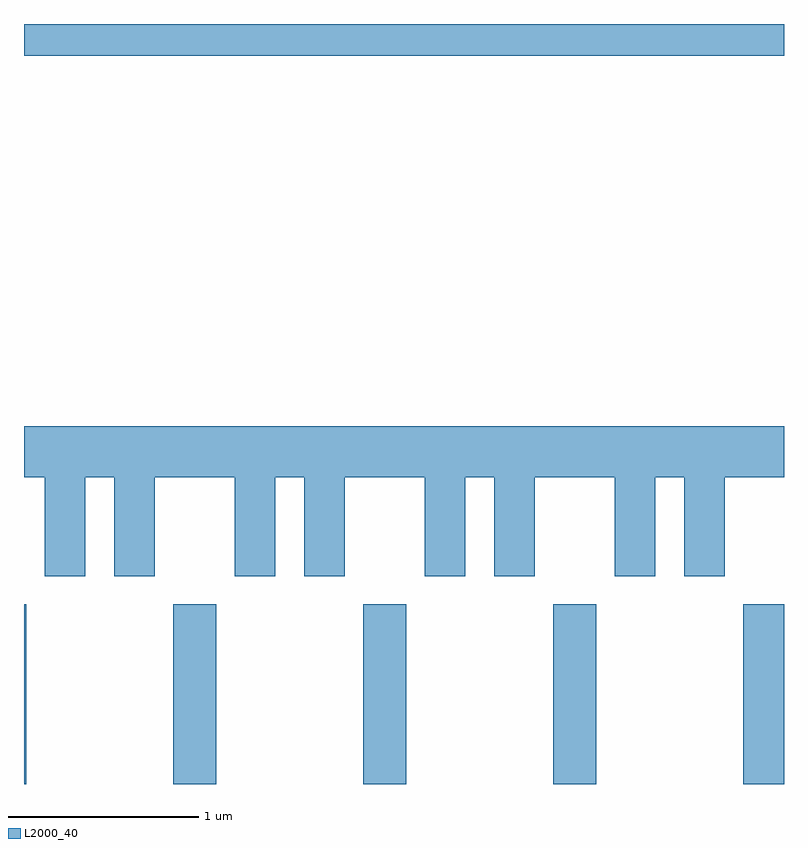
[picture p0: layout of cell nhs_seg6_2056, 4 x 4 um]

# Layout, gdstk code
import gdstk
lib = gdstk.Library(unit=1e-6, precision=1e-09)
def R(c, l, rs):  # rectangles x0, y0, x1, y1
    for r in rs: c.add(gdstk.rectangle(r[:2], r[2:], *l))
def A(c, l, x, y, w, h, nx, ny, dx, dy):  # array of equal rectangles
    R(c, l, [(x+i*dx, y+j*dy, x+i*dx+w, y+j*dy+h) for i in range(nx) for j in range(ny)])
def P(c, l, *ps):  # polygons
    for p in ps: c.add(gdstk.Polygon(p, *l))
L2000_40 = (2000, 40)

nhs_seg6_2056 = lib.new_cell('nhs_seg6_2056')
A(nhs_seg6_2056, L2000_40, 248.396, 1586.162, 0.228, 0.947, 3, 1, 1, 0)
R(nhs_seg6_2056, L2000_40, [(247.611,1586.162,247.624,1587.109), (251.396,1586.162,251.611,1587.109), (247.611,1589.996,251.611,1590.162)])
P(nhs_seg6_2056, L2000_40, [(247.611,1587.776),(247.721,1587.776),(247.721,1587.256),(247.934,1587.256),(247.934,1587.776),(248.086,1587.776),(248.086,1587.256),(248.299,1587.256),(248.299,1587.776),(248.721,1587.776),(248.721,1587.256),(248.934,1587.256),(248.934,1587.776),(249.086,1587.776),(249.086,1587.256),(249.299,1587.256),(249.299,1587.776),(249.721,1587.776),(249.721,1587.256),(249.934,1587.256),(249.934,1587.776),(250.086,1587.776),(250.086,1587.256),(250.299,1587.256),(250.299,1587.776),(250.721,1587.776),(250.721,1587.256),(250.934,1587.256),(250.934,1587.776),(251.086,1587.776),(251.086,1587.256),(251.299,1587.256),(251.299,1587.776),(251.611,1587.776),(251.611,1588.044),(247.611,1588.044)])

lib.write_gds('nhs_seg6_2056.gds')
